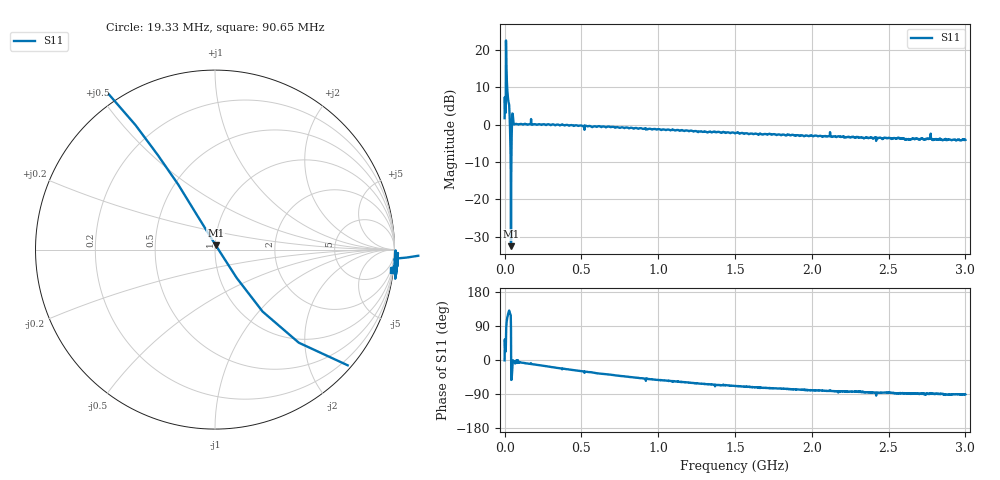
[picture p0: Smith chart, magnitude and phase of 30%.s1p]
# HZ S RI R 50
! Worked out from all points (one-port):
!   2020 points, 10 kHz to 3 GHz, reference 50 ohm
!   lowest |S11| = -32.5 dB at 41.61 MHz (marker M1), VSWR 1.05, Z = 50.4 + j2.35 ohm
!   |S11| at or under -10 dB: 39.28 MHz to 43.98 MHz (4.703 MHz wide, 11.3 % of centre)
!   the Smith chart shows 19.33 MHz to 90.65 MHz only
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10000  1.216 -0.0187
2981758  1.347 0.9629
5953516  1.327 0.5406
1.486879e7  -1.007 3.565
1.635467e7  -1.071 3
1.784055e7  -1.104 2.607
2.378406e7  -1.149 1.757
2.526994e7  -1.154 1.639
2.675582e7  -1.167 1.54
2.972758e7  -1.187 1.386
3.269934e7  -0.7726 1.036
3.56711e7  -0.4429 0.6938
4.161461e7  0.00455 0.0233
4.755813e7  0.7393 -0.6447
5.350164e7  1.329 -0.0867
5.64734e7  1.133 -0.0344
5.944516e7  1.016 -0.0491
6.39028e7  1.006 -0.0711
6.836043e7  1.004 -0.1625
7.578983e7  1.019 -0.0189
3.759374e8  0.9186 -0.3856
7.503789e8  0.6719 -0.602
1.126306e9  0.4737 -0.7019
1.500748e9  0.278 -0.7088
1.875189e9  0.1607 -0.7127
2.251117e9  0.0754 -0.6664
2.625558e9  0.0219 -0.6383
3e9  -0.00931 -0.6219
